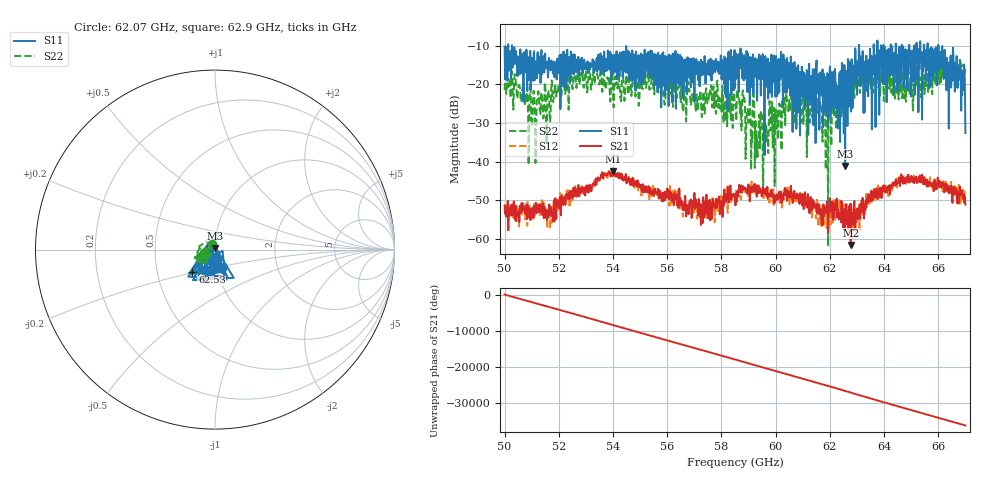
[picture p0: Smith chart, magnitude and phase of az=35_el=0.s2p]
!Created with skrf (http://scikit-rf.org).
# GHz S RI R 50.0
!freq ReS11 ImS11 ReS21 ImS21 ReS12 ImS12 ReS22 ImS22
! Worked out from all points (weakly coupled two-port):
!   1001 points, 50 GHz to 67 GHz, reference 50 ohm
!   highest |S21| = -42.35 dB at 54.01 GHz (marker M1); lowest = -61.5 dB at 62.77 GHz (marker M2)
!   lowest |S11| = -41.1 dB at 62.56 GHz (marker M3), VSWR 1.02, Z = 50.1 + j0.874 ohm
!   |S11| at or under -10 dB: 50.27 GHz to 63.07 GHz (12.8 GHz wide, 22.6 % of centre); 63.07 GHz to 63.62 GHz (541.5 MHz wide, 0.855 % of centre); 66 GHz to end of sweep (the widest 3 of 18)
!   |S22| runs from -61.8 to -13.7 dB; largest |S21 - S12| = 0.0026
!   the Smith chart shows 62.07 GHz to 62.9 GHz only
!   S11 on the Smith chart (normalised r, x): 62.07 GHz: 1.02, -0.10; 62.53 GHz: 0.75, -0.20; 62.9 GHz: 1.07, -0.21
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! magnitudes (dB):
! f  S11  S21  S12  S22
! 50 GHz  -10.3  -51.3  -52.2  -21.5
! 50.46 GHz  -14.4  -53.7  -52.4  -23.2
! 51.07 GHz  -12.3  -54.4  -54.6  -21.6
! 51.72 GHz  -13.8  -54.0  -53.9  -21.4
! 52.84 GHz  -14.3  -47.2  -46.3  -17.8
! 54.01 GHz  -17.4  -42.3  -42.6  -25.6
! 55.68 GHz  -13.8  -49.0  -48.6  -22.1
! 57.19 GHz  -20.5  -51.1  -52.1  -24.4
! 58.5 GHz  -21.0  -49.1  -48.9  -25.3
! 59.61 GHz  -12.9  -47.2  -47.4  -37.9
! 60.34 GHz  -13.7  -48.5  -47.9  -25.3
! 61.34 GHz  -24.2  -52.4  -54.4  -25.4
! 61.88 GHz  -28.1  -51.3  -57.1  -23.0
! 62.07 GHz  -26.0  -52.1  -51.2  -28.8
! 62.53 GHz  -15.0  -52.2  -58.2  -18.8
! 62.56 GHz  -41.1  -57.3  -56.4  -19.5
! 62.77 GHz  -19.5  -61.5  -53.7  -19.5
! 62.9 GHz  -19.5  -50.1  -53.0  -23.5
! 64.18 GHz  -17.9  -46.4  -46.3  -17.8
! 66.08 GHz  -15.4  -45.3  -45.8  -15.4
! 66.9 GHz  -16.5  -49.0  -49.5  -15.2
! 67 GHz  -32.6  -51.1  -47.7  -16.1
